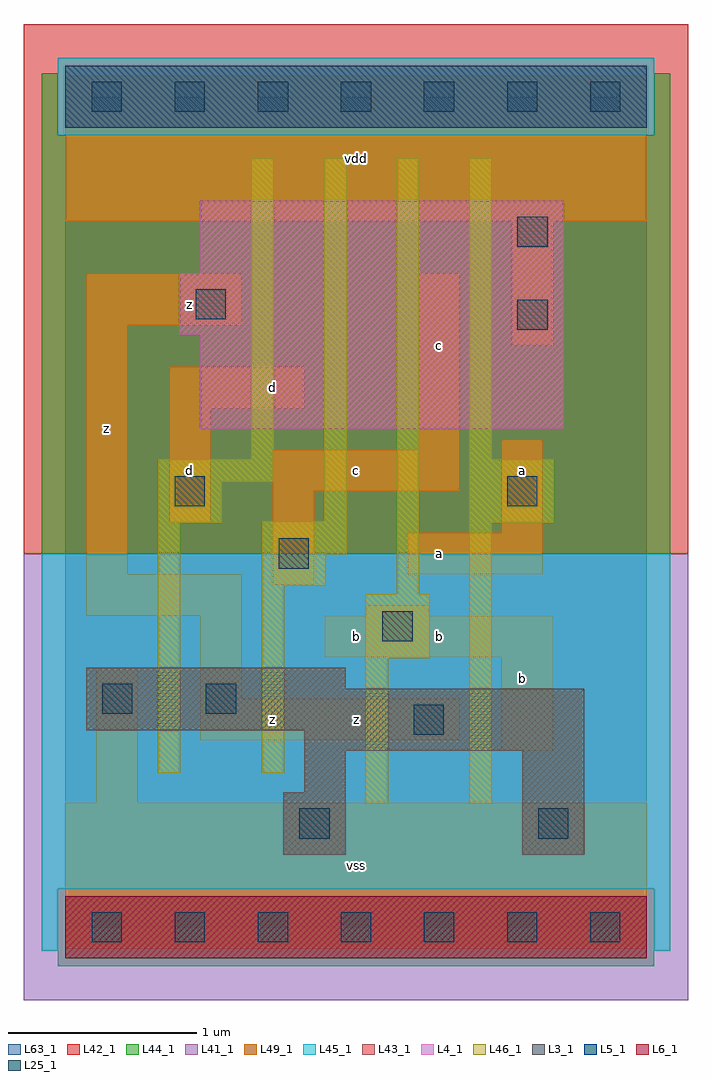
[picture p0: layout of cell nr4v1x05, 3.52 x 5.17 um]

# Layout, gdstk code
import gdstk
lib = gdstk.Library(unit=1e-6, precision=1e-09)
def R(c, l, rs):  # rectangles x0, y0, x1, y1
    for r in rs: c.add(gdstk.rectangle(r[:2], r[2:], *l))
def A(c, l, x, y, w, h, nx, ny, dx, dy):  # array of equal rectangles
    R(c, l, [(x+i*dx, y+j*dy, x+i*dx+w, y+j*dy+h) for i in range(nx) for j in range(ny)])
L3_1 = (3, 1)
L4_1 = (4, 1)
L5_1 = (5, 1)
L6_1 = (6, 1)
L25_1 = (25, 1)
L41_1 = (41, 1)
L42_1 = (42, 1)
L43_1 = (43, 1)
L44_1 = (44, 1)
L45_1 = (45, 1)
L46_1 = (46, 1)
L49_1 = (49, 1)
L63_1 = (63, 1)

nr4v1x05 = lib.new_cell('nr4v1x05')
R(nr4v1x05, L3_1, [(1.155,0.385,1.485,0.715), (2.42,0.385,2.75,0.935), (1.265,0.715,1.485,0.935), (1.265,0.935,2.75,1.045), (0.11,1.045,2.75,1.265), (0.11,1.265,1.485,1.375)])
R(nr4v1x05, L4_1, [(0.715,2.64,2.64,3.135), (0.605,3.135,2.64,3.465), (0.715,3.465,2.64,3.85)])
R(nr4v1x05, L5_1, [(0,4.235,3.08,4.565)])
R(nr4v1x05, L6_1, [(0,-0.165,3.08,0.165)])
A(nr4v1x05, L25_1, 0.14, -0.08, 0.16, 0.16, 7, 2, 0.44, 4.4)
R(nr4v1x05, L25_1, [(1.24,0.47,1.4,0.63), (2.505,0.47,2.665,0.63), (1.845,1.02,2.005,1.18), (0.195,1.13,0.355,1.29), (0.745,1.13,0.905,1.29), (1.68,1.515,1.84,1.675), (1.13,1.9,1.29,2.06), (0.58,2.23,0.74,2.39), (2.34,2.23,2.5,2.39), (2.395,3.165,2.555,3.325), (0.69,3.22,0.85,3.38), (2.395,3.605,2.555,3.765)])
R(nr4v1x05, L41_1, [(-0.22,-0.385,3.3,1.98)])
R(nr4v1x05, L42_1, [(-0.22,1.98,3.3,4.785)])
R(nr4v1x05, L43_1, [(0,-0.165,3.08,0.165), (1.155,0.385,1.485,0.715), (2.42,0.385,2.75,0.935), (1.265,0.715,1.485,0.935), (1.265,0.935,2.75,1.045), (0.11,1.045,2.75,1.265), (0.11,1.265,1.485,1.375), (0.715,2.64,2.64,3.135), (0.605,3.135,2.64,3.465), (0.715,3.465,2.64,3.85), (0,4.235,3.08,4.565)])
R(nr4v1x05, L44_1, [(-0.04,-0.205,3.12,0.205), (-0.125,1.98,3.205,4.195), (-0.125,4.195,-0.04,4.525), (3.12,4.195,3.205,4.525)])
R(nr4v1x05, L45_1, [(-0.125,-0.125,-0.04,0.205), (3.12,-0.125,3.205,0.205), (-0.125,0.205,3.205,1.98), (-0.04,4.195,3.12,4.605)])
R(nr4v1x05, L46_1, [(1.59,0.655,1.71,1.425), (2.14,0.655,2.26,2.14), (0.49,0.82,0.61,2.14), (1.04,0.82,1.16,1.81), (1.59,1.425,1.93,1.765), (1.755,1.765,1.875,4.075), (1.04,1.81,1.38,1.975), (1.04,1.975,1.49,2.15), (0.49,2.14,0.83,2.36), (2.14,2.14,2.59,2.48), (1.37,2.15,1.49,4.075), (0.49,2.36,1.105,2.48), (0.985,2.48,1.105,4.075), (2.14,2.48,2.26,4.075)])
R(nr4v1x05, L49_1, [(0,-0.11,3.08,0.66), (0.165,0.66,0.385,1.375), (2.31,0.935,2.585,1.43), (0.715,0.99,2.09,1.21), (0.715,1.21,0.935,1.65), (1.375,1.43,2.585,1.65), (0.11,1.65,0.935,1.87), (1.595,1.65,1.925,1.705), (1.1,1.815,1.32,2.31), (0.11,1.87,0.33,3.19), (1.815,1.87,2.53,2.09), (2.31,2.09,2.53,2.585), (0.55,2.145,0.77,2.75), (1.1,2.31,2.09,2.53), (1.87,2.53,2.09,3.465), (0.55,2.75,1.265,2.97), (2.365,3.08,2.585,3.74), (0.11,3.19,0.935,3.465), (0,3.74,3.08,4.51)])
R(nr4v1x05, L63_1, [(0,0,3.08,4.4)])
nr4v1x05.add(gdstk.Label('z', (0.22,2.64), layer=49, texttype=1))
nr4v1x05.add(gdstk.Label('d', (0.66,2.42), layer=49, texttype=1))
nr4v1x05.add(gdstk.Label('z', (0.66,3.3), layer=49, texttype=1))
nr4v1x05.add(gdstk.Label('vss', (1.54,0.33), layer=49, texttype=1))
nr4v1x05.add(gdstk.Label('z', (1.1,1.1), layer=49, texttype=1))
nr4v1x05.add(gdstk.Label('z', (1.54,1.1), layer=49, texttype=1))
nr4v1x05.add(gdstk.Label('b', (1.54,1.54), layer=49, texttype=1))
nr4v1x05.add(gdstk.Label('c', (1.54,2.42), layer=49, texttype=1))
nr4v1x05.add(gdstk.Label('d', (1.1,2.86), layer=49, texttype=1))
nr4v1x05.add(gdstk.Label('vdd', (1.54,4.07), layer=49, texttype=1))
nr4v1x05.add(gdstk.Label('b', (1.98,1.54), layer=49, texttype=1))
nr4v1x05.add(gdstk.Label('b', (2.42,1.32), layer=49, texttype=1))
nr4v1x05.add(gdstk.Label('a', (1.98,1.98), layer=49, texttype=1))
nr4v1x05.add(gdstk.Label('a', (2.42,2.42), layer=49, texttype=1))
nr4v1x05.add(gdstk.Label('c', (1.98,3.08), layer=49, texttype=1))

lib.write_gds('nr4v1x05.gds')
